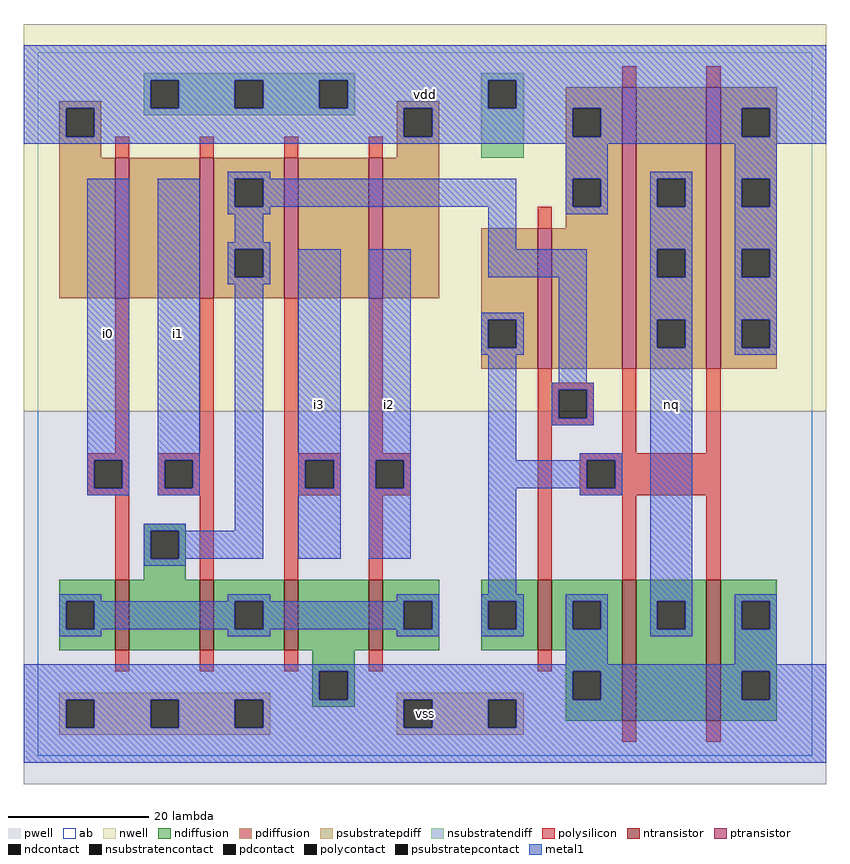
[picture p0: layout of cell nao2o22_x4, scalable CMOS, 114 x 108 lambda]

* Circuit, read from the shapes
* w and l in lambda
.subckt nao2o22_x4 i0 i1 i2 i3 nq vdd vss
M1 n1 i0 n2 vss nfet w=10 l=2
M2 n2 i1 n1 vss nfet w=10 l=2
M3 vss i3 n2 vss nfet w=10 l=2
M4 n2 i2 vss vss nfet w=10 l=2
M5 vss n1 n3 vss nfet w=10 l=2
M6 nq n3 vss vss nfet w=20 l=2 m=2
M7 n4 i0 vdd vdd pfet w=20 l=2
M8 n1 i1 n4 vdd pfet w=20 l=2
M9 n5 i3 n1 vdd pfet w=20 l=2
M10 vdd i2 n5 vdd pfet w=20 l=2
M11 vdd n1 n3 vdd pfet w=20 l=2
M12 nq n3 vdd vdd pfet w=40 l=2 m=2
.ends

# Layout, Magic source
magic
tech scmos
<< ab >>
rect 0 0 110 100
<< pwell >>
rect -2 -4 112 49
<< nwell >>
rect -2 49 112 104
<< polysilicon >>
rect 11 85 13 88
rect 23 85 25 88
rect 35 85 37 88
rect 47 85 49 88
rect 83 95 85 98
rect 95 95 97 98
rect 71 75 73 78
rect 11 43 13 65
rect 23 43 25 65
rect 7 42 13 43
rect 7 38 8 42
rect 12 38 13 42
rect 7 37 13 38
rect 17 42 25 43
rect 17 38 18 42
rect 22 38 25 42
rect 17 37 25 38
rect 11 25 13 37
rect 23 25 25 37
rect 35 43 37 65
rect 47 43 49 65
rect 71 53 73 55
rect 71 52 79 53
rect 71 48 74 52
rect 78 48 79 52
rect 71 47 79 48
rect 35 42 43 43
rect 35 38 38 42
rect 42 38 43 42
rect 35 37 43 38
rect 47 42 53 43
rect 47 38 48 42
rect 52 38 53 42
rect 47 37 53 38
rect 35 25 37 37
rect 47 25 49 37
rect 71 25 73 47
rect 83 43 85 55
rect 95 43 97 55
rect 77 42 97 43
rect 77 38 78 42
rect 82 38 97 42
rect 77 37 97 38
rect 83 25 85 37
rect 95 25 97 37
rect 11 12 13 15
rect 23 12 25 15
rect 35 12 37 15
rect 47 12 49 15
rect 71 12 73 15
rect 83 2 85 5
rect 95 2 97 5
<< ndiffusion >>
rect 15 32 21 33
rect 15 28 16 32
rect 20 28 21 32
rect 15 25 21 28
rect 3 22 11 25
rect 3 18 4 22
rect 8 18 11 22
rect 3 15 11 18
rect 13 15 23 25
rect 25 22 35 25
rect 25 18 28 22
rect 32 18 35 22
rect 25 15 35 18
rect 37 15 47 25
rect 49 22 57 25
rect 49 18 52 22
rect 56 18 57 22
rect 49 15 57 18
rect 63 22 71 25
rect 63 18 64 22
rect 68 18 71 22
rect 63 15 71 18
rect 73 22 83 25
rect 73 18 76 22
rect 80 18 83 22
rect 73 15 83 18
rect 39 12 45 15
rect 75 12 83 15
rect 39 8 40 12
rect 44 8 45 12
rect 39 7 45 8
rect 75 8 76 12
rect 80 8 83 12
rect 75 5 83 8
rect 85 22 95 25
rect 85 18 88 22
rect 92 18 95 22
rect 85 5 95 18
rect 97 22 105 25
rect 97 18 100 22
rect 104 18 105 22
rect 97 12 105 18
rect 97 8 100 12
rect 104 8 105 12
rect 97 5 105 8
<< pdiffusion >>
rect 3 92 9 93
rect 3 88 4 92
rect 8 88 9 92
rect 51 92 57 93
rect 51 88 52 92
rect 56 88 57 92
rect 3 85 9 88
rect 51 85 57 88
rect 75 92 83 95
rect 75 88 76 92
rect 80 88 83 92
rect 3 65 11 85
rect 13 65 23 85
rect 25 82 35 85
rect 25 78 28 82
rect 32 78 35 82
rect 25 72 35 78
rect 25 68 28 72
rect 32 68 35 72
rect 25 65 35 68
rect 37 65 47 85
rect 49 65 57 85
rect 75 82 83 88
rect 75 78 76 82
rect 80 78 83 82
rect 75 75 83 78
rect 63 62 71 75
rect 63 58 64 62
rect 68 58 71 62
rect 63 55 71 58
rect 73 55 83 75
rect 85 82 95 95
rect 85 78 88 82
rect 92 78 95 82
rect 85 72 95 78
rect 85 68 88 72
rect 92 68 95 72
rect 85 62 95 68
rect 85 58 88 62
rect 92 58 95 62
rect 85 55 95 58
rect 97 92 105 95
rect 97 88 100 92
rect 104 88 105 92
rect 97 82 105 88
rect 97 78 100 82
rect 104 78 105 82
rect 97 72 105 78
rect 97 68 100 72
rect 104 68 105 72
rect 97 62 105 68
rect 97 58 100 62
rect 104 58 105 62
rect 97 55 105 58
<< metal1 >>
rect -2 96 112 101
rect -2 92 16 96
rect 20 92 28 96
rect 32 92 40 96
rect 44 92 64 96
rect 68 92 112 96
rect -2 88 4 92
rect 8 88 52 92
rect 56 88 76 92
rect 80 88 100 92
rect 104 88 112 92
rect -2 87 112 88
rect 27 82 33 83
rect 75 82 81 87
rect 7 42 13 82
rect 7 38 8 42
rect 12 38 13 42
rect 7 37 13 38
rect 17 42 23 82
rect 27 78 28 82
rect 32 78 68 82
rect 27 77 33 78
rect 28 73 32 77
rect 27 72 33 73
rect 64 72 68 78
rect 75 78 76 82
rect 80 78 81 82
rect 75 77 81 78
rect 87 82 93 83
rect 87 78 88 82
rect 92 78 93 82
rect 87 72 93 78
rect 27 68 28 72
rect 32 68 33 72
rect 27 67 33 68
rect 17 38 18 42
rect 22 38 23 42
rect 17 37 23 38
rect 15 32 21 33
rect 28 32 32 67
rect 15 28 16 32
rect 20 28 32 32
rect 37 42 43 72
rect 37 38 38 42
rect 42 38 43 42
rect 37 28 43 38
rect 47 42 53 72
rect 64 68 78 72
rect 63 62 69 63
rect 63 58 64 62
rect 68 58 69 62
rect 63 57 69 58
rect 47 38 48 42
rect 52 38 53 42
rect 47 28 53 38
rect 64 42 68 57
rect 74 53 78 68
rect 87 68 88 72
rect 92 68 93 72
rect 87 62 93 68
rect 87 58 88 62
rect 92 58 93 62
rect 73 52 79 53
rect 73 48 74 52
rect 78 48 79 52
rect 73 47 79 48
rect 77 42 83 43
rect 64 38 78 42
rect 82 38 83 42
rect 15 27 21 28
rect 64 23 68 38
rect 77 37 83 38
rect 3 22 9 23
rect 27 22 33 23
rect 51 22 57 23
rect 3 18 4 22
rect 8 18 28 22
rect 32 18 52 22
rect 56 18 57 22
rect 3 17 9 18
rect 27 17 33 18
rect 51 17 57 18
rect 63 22 69 23
rect 63 18 64 22
rect 68 18 69 22
rect 63 17 69 18
rect 75 22 81 23
rect 75 18 76 22
rect 80 18 81 22
rect 75 13 81 18
rect 87 22 93 58
rect 99 82 105 87
rect 99 78 100 82
rect 104 78 105 82
rect 99 72 105 78
rect 99 68 100 72
rect 104 68 105 72
rect 99 62 105 68
rect 99 58 100 62
rect 104 58 105 62
rect 99 57 105 58
rect 87 18 88 22
rect 92 18 93 22
rect 87 17 93 18
rect 99 22 105 23
rect 99 18 100 22
rect 104 18 105 22
rect 99 13 105 18
rect -2 12 112 13
rect -2 8 40 12
rect 44 8 76 12
rect 80 8 100 12
rect 104 8 112 12
rect -2 4 4 8
rect 8 4 16 8
rect 20 4 28 8
rect 32 4 52 8
rect 56 4 64 8
rect 68 4 112 8
rect -2 -1 112 4
<< ntransistor >>
rect 11 15 13 25
rect 23 15 25 25
rect 35 15 37 25
rect 47 15 49 25
rect 71 15 73 25
rect 83 5 85 25
rect 95 5 97 25
<< ptransistor >>
rect 11 65 13 85
rect 23 65 25 85
rect 35 65 37 85
rect 47 65 49 85
rect 71 55 73 75
rect 83 55 85 95
rect 95 55 97 95
<< polycontact >>
rect 8 38 12 42
rect 18 38 22 42
rect 74 48 78 52
rect 38 38 42 42
rect 48 38 52 42
rect 78 38 82 42
<< ndcontact >>
rect 16 28 20 32
rect 4 18 8 22
rect 28 18 32 22
rect 52 18 56 22
rect 64 18 68 22
rect 76 18 80 22
rect 40 8 44 12
rect 76 8 80 12
rect 88 18 92 22
rect 100 18 104 22
rect 100 8 104 12
<< pdcontact >>
rect 4 88 8 92
rect 52 88 56 92
rect 76 88 80 92
rect 28 78 32 82
rect 28 68 32 72
rect 76 78 80 82
rect 64 58 68 62
rect 88 78 92 82
rect 88 68 92 72
rect 88 58 92 62
rect 100 88 104 92
rect 100 78 104 82
rect 100 68 104 72
rect 100 58 104 62
<< psubstratepcontact >>
rect 4 4 8 8
rect 16 4 20 8
rect 28 4 32 8
rect 52 4 56 8
rect 64 4 68 8
<< nsubstratencontact >>
rect 16 92 20 96
rect 28 92 32 96
rect 40 92 44 96
rect 64 92 68 96
<< psubstratepdiff >>
rect 3 8 33 9
rect 3 4 4 8
rect 8 4 16 8
rect 20 4 28 8
rect 32 4 33 8
rect 51 8 69 9
rect 3 3 33 4
rect 51 4 52 8
rect 56 4 64 8
rect 68 4 69 8
rect 51 3 69 4
<< nsubstratendiff >>
rect 15 96 45 97
rect 15 92 16 96
rect 20 92 28 96
rect 32 92 40 96
rect 44 92 45 96
rect 63 96 69 97
rect 15 91 45 92
rect 63 92 64 96
rect 68 92 69 96
rect 63 85 69 92
<< labels >>
rlabel metal1 20 60 20 60 6 i1
rlabel metal1 10 60 10 60 6 i0
rlabel metal1 20 60 20 60 6 i1
rlabel metal1 10 60 10 60 6 i0
rlabel metal1 40 50 40 50 6 i3
rlabel metal1 50 50 50 50 6 i2
rlabel metal1 50 50 50 50 6 i2
rlabel metal1 40 50 40 50 6 i3
rlabel psubstratepcontact 55 6 55 6 6 vss
rlabel psubstratepcontact 55 6 55 6 6 vss
rlabel metal1 55 94 55 94 6 vdd
rlabel metal1 55 94 55 94 6 vdd
rlabel metal1 90 50 90 50 6 nq
rlabel metal1 90 50 90 50 6 nq
<< end >>
